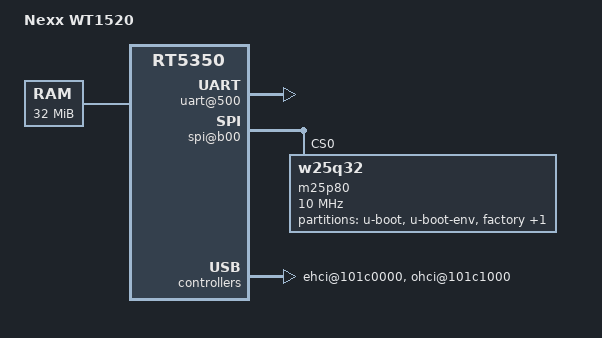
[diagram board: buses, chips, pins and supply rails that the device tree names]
/dts-v1/;

/include/ "rt5350.dtsi"

/ {
	compatible = "NEXXWT1520", "ralink,rt5350-soc";
	model = "Nexx WT1520";

	memory@0 {
		device_type = "memory";
		reg = <0x0 0x2000000>;
	};

	chosen {
		bootargs = "console=ttyS1,57600";
	};

	palmbus@10000000 {
		uart@500 {
			status = "okay";
		};

		spi@b00 {
			status = "okay";
			m25p80@0 {
				#address-cells = <1>;
				#size-cells = <1>;
				compatible = "w25q32";
				reg = <0 0>;
				linux,modalias = "m25p80", "s25fl064k";
				spi-max-frequency = <10000000>;

				partition@0 {
					label = "u-boot";
					reg = <0x0 0x30000>;
					read-only;
				};

				partition@30000 {
					label = "u-boot-env";
					reg = <0x30000 0x10000>;
					read-only;
				};

				factory: partition@40000 {
					label = "factory";
					reg = <0x40000 0x10000>;
					read-only;
				};

				partition@50000 {
					label = "firmware";
					reg = <0x50000 0x3b0000>;
				};
			};
		};
	};

	pinctrl {
		state_default: pinctrl0 {
			gpio {
				ralink,group = "jtag";
				ralink,function = "gpio";
			};
		};
	};

	ethernet@10100000 {
		mtd-mac-address = <&factory 0x4>;
	};

	wmac@10180000 {
		ralink,mtd-eeprom = <&factory 0>;
	};

	ehci@101c0000 {
		status = "okay";
	};

	ohci@101c1000 {
		status = "okay";
	};
};
